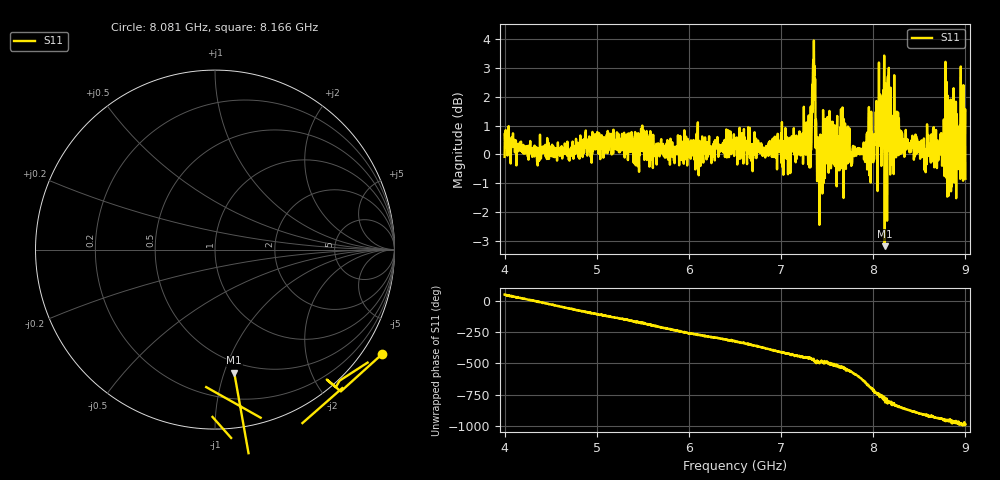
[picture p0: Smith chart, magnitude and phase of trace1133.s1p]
! Created with skrf 1.8.0 (http://scikit-rf.org).
# Hz S RI R 50.0
!freq ReS11 ImS11
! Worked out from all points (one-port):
!   1601 points, 4 GHz to 9 GHz, reference 50 ohm
!   lowest |S11| = -3.2 dB at 8.125 GHz (marker M1), VSWR 5.53, Z = 20.5 - j54.1 ohm
!   |S11| at or under -10 dB: nowhere
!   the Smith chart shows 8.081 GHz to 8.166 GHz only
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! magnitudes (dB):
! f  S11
! 4 GHz  -0.1
! 4.625 GHz  -0.1
! 5.25 GHz  0.1
! 5.875 GHz  0.1
! 6.5 GHz  0.2
! 7.125 GHz  0.1
! 7.303 GHz  0.0
! 7.347 GHz  3.1
! 7.356 GHz  3.9
! 7.375 GHz  0.2
! 7.397 GHz  -0.1
! 7.428 GHz  0.4
! 7.512 GHz  1.1
! 7.609 GHz  1.3
! 7.669 GHz  1.6
! 7.75 GHz  0.0
! 7.922 GHz  0.3
! 8.022 GHz  0.6
! 8.05 GHz  1.2
! 8.125 GHz  -3.2
! 8.181 GHz  1.0
! 8.197 GHz  0.5
! 8.375 GHz  0.4
! 8.556 GHz  -0.5
! 8.8 GHz  0.1
! 8.856 GHz  -0.2
! 8.972 GHz  0.0
! 9 GHz  -0.8
